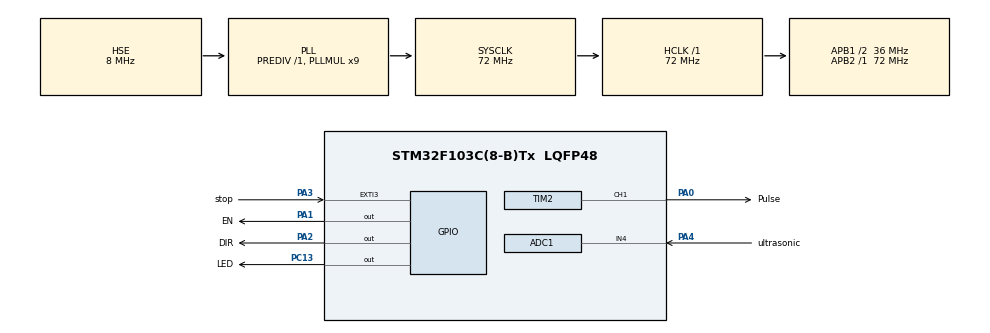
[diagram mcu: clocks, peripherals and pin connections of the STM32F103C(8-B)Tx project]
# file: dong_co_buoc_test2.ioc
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ADC1.Channel-5\#ChannelRegularConversion=ADC_CHANNEL_4
ADC1.ContinuousConvMode=ENABLE
ADC1.NbrOfConversionFlag=1
ADC1.Rank-5\#ChannelRegularConversion=1
ADC1.SamplingTime-5\#ChannelRegularConversion=ADC_SAMPLETIME_28CYCLES_5
ADC1.master=1
Mcu.Family=STM32F1
Mcu.Name=STM32F103C(8-B)Tx
Mcu.Package=LQFP48
NVIC.ADC1_2_IRQn=true\:3\:0\:true\:false\:true\:true\:true\:true
NVIC.EXTI3_IRQn=true\:2\:0\:true\:false\:true\:true\:true\:true
NVIC.PriorityGroup=NVIC_PRIORITYGROUP_4
NVIC.TIM2_IRQn=true\:4\:0\:true\:false\:true\:true\:true\:true
PA0-WKUP.GPIO_Label=Pulse
PA0-WKUP.Signal=S_TIM2_CH1_ETR
PA1.GPIO_Label=EN
PA1.GPIO_Speed=GPIO_SPEED_FREQ_HIGH
PA1.Signal=GPIO_Output
PA13.Mode=Serial_Wire
PA13.Signal=SYS_JTMS-SWDIO
PA14.Mode=Serial_Wire
PA14.Signal=SYS_JTCK-SWCLK
PA2.GPIO_Label=DIR
PA2.GPIO_Speed=GPIO_SPEED_FREQ_HIGH
PA2.Signal=GPIO_Output
PA3.GPIO_Label=stop
PA3.GPIO_ModeDefaultEXTI=GPIO_MODE_IT_FALLING
PA3.GPIO_PuPd=GPIO_PULLUP
PA3.Signal=GPXTI3
PA4.GPIO_Label=ultrasonic
PA4.Signal=ADCx_IN4
PC13-TAMPER-RTC.GPIO_Label=LED
PC13-TAMPER-RTC.GPIO_Speed=GPIO_SPEED_FREQ_HIGH
PC13-TAMPER-RTC.Signal=GPIO_Output
PD0-OSC_IN.Mode=HSE-External-Oscillator
PD0-OSC_IN.Signal=RCC_OSC_IN
PD1-OSC_OUT.Mode=HSE-External-Oscillator
PD1-OSC_OUT.Signal=RCC_OSC_OUT
ProjectManager.HeapSize=0x200
ProjectManager.StackSize=0x400
ProjectManager.TargetToolchain=MDK-ARM V5.32
RCC.ADCPresc=RCC_ADCPCLK2_DIV6
RCC.AHBFreq_Value=72000000
RCC.APB1CLKDivider=RCC_HCLK_DIV2
RCC.APB1Freq_Value=36000000
RCC.APB1TimFreq_Value=72000000
RCC.APB2Freq_Value=72000000
RCC.APB2TimFreq_Value=72000000
RCC.HCLKFreq_Value=72000000
RCC.PLLMUL=RCC_PLL_MUL9
RCC.PLLSourceVirtual=RCC_PLLSOURCE_HSE
RCC.SYSCLKFreq_VALUE=72000000
RCC.SYSCLKSource=RCC_SYSCLKSOURCE_PLLCLK
RCC.USBFreq_Value=72000000
SH.ADCx_IN4.0=ADC1_IN4,IN4
SH.S_TIM2_CH1_ETR.0=TIM2_CH1,PWM Generation1 CH1
TIM1.Prescaler=71
TIM2.Channel-PWM\ Generation1\ CH1=TIM_CHANNEL_1
TIM2.Period=999
TIM2.Prescaler=71
VP_TIM1_VS_ClockSourceINT.Mode=Internal
VP_TIM2_VS_ClockSourceINT.Mode=Internal
board=custom

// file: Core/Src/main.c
/* USER CODE BEGIN Header */
/**
  ******************************************************************************
  * @file           : main.c
  * @brief          : Main program body
  ******************************************************************************
  * @attention
  *
  * Copyright (c) 2022 STMicroelectronics.
  * All rights reserved.
  *
  * This software is licensed under terms that can be found in the LICENSE file
  * in the root directory of this software component.
  * If no LICENSE file comes with this software, it is provided AS-IS.
  *
  ******************************************************************************
  */
/* USER CODE END Header */
#include "main.h"

 ADC_HandleTypeDef hadc1;

TIM_HandleTypeDef htim1;
TIM_HandleTypeDef htim2;

void SystemClock_Config(void);
static void MX_GPIO_Init(void);
static void MX_TIM1_Init(void);
static void MX_TIM2_Init(void);
static void MX_ADC1_Init(void);

/* USER CODE BEGIN 0 */
//xxxxxxxxxxxxxxxxxxxxxxxxxxxxxxxxxxxxxxxxxxxxxxxxxxxx
	void delay_ms(uint16_t ms)
	{
		while(ms--)
		{
		__HAL_TIM_SetCounter(&htim1,0);
		while(__HAL_TIM_GetCounter(&htim1) < 1000 );
		}
	}
//xxxxxxxxxxxxxxxxxxxxxxxxxxxxxxxxxxxxxxxxxxxxxxxxxxxx
	void HAL_GPIO_EXTI_Callback(uint16_t GPIO_PIN)  // dong co cham cong tac hanh trinh
		{
			if(GPIO_PIN == GPIO_PIN_3)
			{
				htim2.Instance->CCR1 =0;
				HAL_GPIO_WritePin(EN_GPIO_Port,EN_Pin, GPIO_PIN_RESET);
			}
		}
////xxxxxxxxxxxxxxxxxxxxxxxxxxxxxxxxxxxxxxxxxxxxxxxxxxxx
		#define MAX_SAMPLE 30

	typedef struct
	{
		uint8_t index;			// gia tri dem tu 1 den 30
		uint8_t flag;			// d?ng flag khi dã tính du?c trung bình
		uint32_t val;			// gia tri trung bình
		uint32_t tAdc;			// thoi gian adc haot dong ngat
		uint32_t sum;			// tong cac gia tri do duoc
		uint32_t dis;	// khoang cach sau khi lam tron ve cm
		uint8_t mul;
	}ADC_TypeDef_t;

	ADC_TypeDef_t adc;

	void HAL_ADC_ConvCpltCallback(ADC_HandleTypeDef*hadc)
	{
		adc.sum += HAL_ADC_GetValue(hadc);
		adc.index++;
		if(adc.index == (MAX_SAMPLE - 1))
		{
			adc.val = adc.sum/MAX_SAMPLE;
			adc.sum = 0;
			adc.flag = 1;
			adc.index = 0;
			adc.dis = ((adc.val)/4095.0)*520;
		}
		HAL_ADC_Stop_IT(hadc);	// tat ngat ADC
	}
	void sampling(uint16_t us)
	{
		if(HAL_GetTick() - adc.tAdc >=us)		// cu sau us se lay mau 1 lan
		{
			HAL_ADC_Start_IT(&hadc1);
			adc.tAdc = HAL_GetTick();
		}
		if(adc.flag)
			adc.flag = 0;
	}
////xxxxxxxxxxxxxxxxxxxxxxxxxxxxxxxxxxxxxxxxxxxxxxxxxxxx

/* USER CODE END 0 */

int main(void)
{

  /* MCU Configuration--------------------------------------------------------*/

  /* Reset of all peripherals, Initializes the Flash interface and the Systick. */
  HAL_Init();

  /* Configure the system clock */
  SystemClock_Config();

  /* Initialize all configured peripherals */
  MX_GPIO_Init();
  MX_TIM1_Init();
  MX_TIM2_Init();
  MX_ADC1_Init();
  /* USER CODE BEGIN 2 */
		HAL_ADCEx_Calibration_Start(&hadc1);
		HAL_TIM_Base_Start(&htim1);
		HAL_TIM_PWM_Start(&htim2,TIM_CHANNEL_1);
		htim2.Instance->CCR1 =0;

  /* USER CODE END 2 */

  /* Infinite loop */
  while (1)
  {

    /* USER CODE BEGIN 3 */
//		HAL_GPIO_TogglePin(LED_GPIO_Port,LED_Pin);
//		delay_ms(1000);
		sampling(10);
		if(adc.dis >= 5)
		{
			HAL_GPIO_WritePin(DIR_GPIO_Port,DIR_Pin, GPIO_PIN_SET);
			HAL_GPIO_WritePin(EN_GPIO_Port,EN_Pin, GPIO_PIN_RESET);
			htim2.Instance->CCR1 =500;
			if(adc.dis >= 5 && adc.dis < 30)
			{
				adc.mul = (adc.dis)/5;
				htim2.Instance->PSC = 175- (15*(adc.mul));
			}
			if(adc.dis >= 30)
				htim2.Instance->PSC = 71;
		}

  }
  /* USER CODE END 3 */
}

void SystemClock_Config(void)
{
  RCC_OscInitTypeDef RCC_OscInitStruct = {0};
  RCC_ClkInitTypeDef RCC_ClkInitStruct = {0};
  RCC_PeriphCLKInitTypeDef PeriphClkInit = {0};

  /** Initializes the RCC Oscillators according to the specified parameters
  * in the RCC_OscInitTypeDef structure.
  */
  RCC_OscInitStruct.OscillatorType = RCC_OSCILLATORTYPE_HSE;
  RCC_OscInitStruct.HSEState = RCC_HSE_ON;
  RCC_OscInitStruct.HSEPredivValue = RCC_HSE_PREDIV_DIV1;
  RCC_OscInitStruct.HSIState = RCC_HSI_ON;
  RCC_OscInitStruct.PLL.PLLState = RCC_PLL_ON;
  RCC_OscInitStruct.PLL.PLLSource = RCC_PLLSOURCE_HSE;
  RCC_OscInitStruct.PLL.PLLMUL = RCC_PLL_MUL9;
  if (HAL_RCC_OscConfig(&RCC_OscInitStruct) != HAL_OK)
  {
    Error_Handler();
  }

  /** Initializes the CPU, AHB and APB buses clocks
  */
  RCC_ClkInitStruct.ClockType = RCC_CLOCKTYPE_HCLK|RCC_CLOCKTYPE_SYSCLK
                              |RCC_CLOCKTYPE_PCLK1|RCC_CLOCKTYPE_PCLK2;
  RCC_ClkInitStruct.SYSCLKSource = RCC_SYSCLKSOURCE_PLLCLK;
  RCC_ClkInitStruct.AHBCLKDivider = RCC_SYSCLK_DIV1;
  RCC_ClkInitStruct.APB1CLKDivider = RCC_HCLK_DIV2;
  RCC_ClkInitStruct.APB2CLKDivider = RCC_HCLK_DIV1;

  if (HAL_RCC_ClockConfig(&RCC_ClkInitStruct, FLASH_LATENCY_2) != HAL_OK)
  {
    Error_Handler();
  }
  PeriphClkInit.PeriphClockSelection = RCC_PERIPHCLK_ADC;
  PeriphClkInit.AdcClockSelection = RCC_ADCPCLK2_DIV6;
  if (HAL_RCCEx_PeriphCLKConfig(&PeriphClkInit) != HAL_OK)
  {
    Error_Handler();
  }
}

static void MX_ADC1_Init(void)
{

  ADC_ChannelConfTypeDef sConfig = {0};

  /** Common config
  */
  hadc1.Instance = ADC1;
  hadc1.Init.ScanConvMode = ADC_SCAN_DISABLE;
  hadc1.Init.ContinuousConvMode = ENABLE;
  hadc1.Init.DiscontinuousConvMode = DISABLE;
  hadc1.Init.ExternalTrigConv = ADC_SOFTWARE_START;
  hadc1.Init.DataAlign = ADC_DATAALIGN_RIGHT;
  hadc1.Init.NbrOfConversion = 1;
  if (HAL_ADC_Init(&hadc1) != HAL_OK)
  {
    Error_Handler();
  }

  /** Configure Regular Channel
  */
  sConfig.Channel = ADC_CHANNEL_4;
  sConfig.Rank = ADC_REGULAR_RANK_1;
  sConfig.SamplingTime = ADC_SAMPLETIME_28CYCLES_5;
  if (HAL_ADC_ConfigChannel(&hadc1, &sConfig) != HAL_OK)
  {
    Error_Handler();
  }

}

static void MX_TIM1_Init(void)
{

  TIM_ClockConfigTypeDef sClockSourceConfig = {0};
  TIM_MasterConfigTypeDef sMasterConfig = {0};

  htim1.Instance = TIM1;
  htim1.Init.Prescaler = 71;
  htim1.Init.CounterMode = TIM_COUNTERMODE_UP;
  htim1.Init.Period = 65535;
  htim1.Init.ClockDivision = TIM_CLOCKDIVISION_DIV1;
  htim1.Init.RepetitionCounter = 0;
  htim1.Init.AutoReloadPreload = TIM_AUTORELOAD_PRELOAD_DISABLE;
  if (HAL_TIM_Base_Init(&htim1) != HAL_OK)
  {
    Error_Handler();
  }
  sClockSourceConfig.ClockSource = TIM_CLOCKSOURCE_INTERNAL;
  if (HAL_TIM_ConfigClockSource(&htim1, &sClockSourceConfig) != HAL_OK)
  {
    Error_Handler();
  }
  sMasterConfig.MasterOutputTrigger = TIM_TRGO_RESET;
  sMasterConfig.MasterSlaveMode = TIM_MASTERSLAVEMODE_DISABLE;
  if (HAL_TIMEx_MasterConfigSynchronization(&htim1, &sMasterConfig) != HAL_OK)
  {
    Error_Handler();
  }

}

static void MX_TIM2_Init(void)
{

  TIM_ClockConfigTypeDef sClockSourceConfig = {0};
  TIM_MasterConfigTypeDef sMasterConfig = {0};
  TIM_OC_InitTypeDef sConfigOC = {0};

  htim2.Instance = TIM2;
  htim2.Init.Prescaler = 71;
  htim2.Init.CounterMode = TIM_COUNTERMODE_UP;
  htim2.Init.Period = 999;
  htim2.Init.ClockDivision = TIM_CLOCKDIVISION_DIV1;
  htim2.Init.AutoReloadPreload = TIM_AUTORELOAD_PRELOAD_DISABLE;
  if (HAL_TIM_Base_Init(&htim2) != HAL_OK)
  {
    Error_Handler();
  }
  sClockSourceConfig.ClockSource = TIM_CLOCKSOURCE_INTERNAL;
  if (HAL_TIM_ConfigClockSource(&htim2, &sClockSourceConfig) != HAL_OK)
  {
    Error_Handler();
  }
  if (HAL_TIM_PWM_Init(&htim2) != HAL_OK)
  {
    Error_Handler();
  }
  sMasterConfig.MasterOutputTrigger = TIM_TRGO_RESET;
  sMasterConfig.MasterSlaveMode = TIM_MASTERSLAVEMODE_DISABLE;
  if (HAL_TIMEx_MasterConfigSynchronization(&htim2, &sMasterConfig) != HAL_OK)
  {
    Error_Handler();
  }
  sConfigOC.OCMode = TIM_OCMODE_PWM1;
  sConfigOC.Pulse = 0;
  sConfigOC.OCPolarity = TIM_OCPOLARITY_HIGH;
  sConfigOC.OCFastMode = TIM_OCFAST_DISABLE;
  if (HAL_TIM_PWM_ConfigChannel(&htim2, &sConfigOC, TIM_CHANNEL_1) != HAL_OK)
  {
    Error_Handler();
  }
  HAL_TIM_MspPostInit(&htim2);

}

static void MX_GPIO_Init(void)
{
  GPIO_InitTypeDef GPIO_InitStruct = {0};

  /* GPIO Ports Clock Enable */
  __HAL_RCC_GPIOC_CLK_ENABLE();
  __HAL_RCC_GPIOD_CLK_ENABLE();
  __HAL_RCC_GPIOA_CLK_ENABLE();

  /*Configure GPIO pin Output Level */
  HAL_GPIO_WritePin(LED_GPIO_Port, LED_Pin, GPIO_PIN_RESET);

  /*Configure GPIO pin Output Level */
  HAL_GPIO_WritePin(GPIOA, EN_Pin|DIR_Pin, GPIO_PIN_RESET);

  /*Configure GPIO pin : LED_Pin */
  GPIO_InitStruct.Pin = LED_Pin;
  GPIO_InitStruct.Mode = GPIO_MODE_OUTPUT_PP;
  GPIO_InitStruct.Pull = GPIO_NOPULL;
  GPIO_InitStruct.Speed = GPIO_SPEED_FREQ_HIGH;
  HAL_GPIO_Init(LED_GPIO_Port, &GPIO_InitStruct);

  /*Configure GPIO pins : EN_Pin DIR_Pin */
  GPIO_InitStruct.Pin = EN_Pin|DIR_Pin;
  GPIO_InitStruct.Mode = GPIO_MODE_OUTPUT_PP;
  GPIO_InitStruct.Pull = GPIO_NOPULL;
  GPIO_InitStruct.Speed = GPIO_SPEED_FREQ_HIGH;
  HAL_GPIO_Init(GPIOA, &GPIO_InitStruct);

  /*Configure GPIO pin : stop_Pin */
  GPIO_InitStruct.Pin = stop_Pin;
  GPIO_InitStruct.Mode = GPIO_MODE_IT_FALLING;
  GPIO_InitStruct.Pull = GPIO_PULLUP;
  HAL_GPIO_Init(stop_GPIO_Port, &GPIO_InitStruct);

  /* EXTI interrupt init*/
  HAL_NVIC_SetPriority(EXTI3_IRQn, 2, 0);
  HAL_NVIC_EnableIRQ(EXTI3_IRQn);

}

void Error_Handler(void)
{
  __disable_irq();
  while (1)
  {
  }
}
